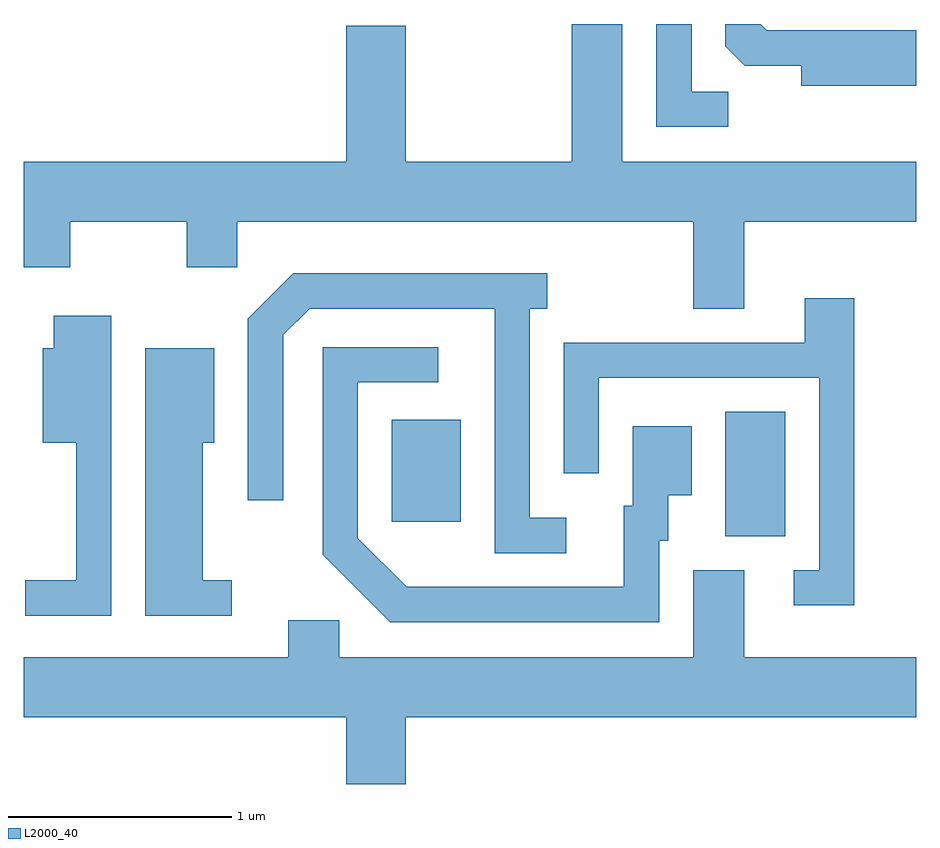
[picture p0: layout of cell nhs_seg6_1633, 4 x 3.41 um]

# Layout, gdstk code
import gdstk
lib = gdstk.Library(unit=1e-6, precision=1e-09)
def R(c, l, rs):  # rectangles x0, y0, x1, y1
    for r in rs: c.add(gdstk.rectangle(r[:2], r[2:], *l))
def P(c, l, *ps):  # polygons
    for p in ps: c.add(gdstk.Polygon(p, *l))
L2000_40 = (2000, 40)

nhs_seg6_1633 = lib.new_cell('nhs_seg6_1633')
R(nhs_seg6_1633, L2000_40, [(236.756,1641.866,237.024,1642.424), (235.261,1641.931,235.569,1642.389)])
P(nhs_seg6_1633, L2000_40, [(236.768,1643.859),(236.604,1643.859),(236.604,1644.162),(236.446,1644.162),(236.446,1643.701),(236.768,1643.701)],
  [(237.611,1644.134),(236.942,1644.134),(236.914,1644.162),(236.756,1644.162),(236.756,1644.062),(236.842,1643.976),(237.096,1643.976),(237.096,1643.886),(237.611,1643.886)],
  [(236.839,1643.276),(237.611,1643.276),(237.611,1643.544),(236.294,1643.544),(236.294,1644.162),(236.066,1644.162),(236.066,1643.544),(235.324,1643.544),(235.324,1644.154),(235.056,1644.154),(235.056,1643.544),(233.611,1643.544),(233.611,1643.071),(233.819,1643.071),(233.819,1643.276),(234.341,1643.276),(234.341,1643.071),(234.569,1643.071),(234.569,1643.276),(236.611,1643.276),(236.611,1642.886),(236.839,1642.886)],
  [(236.043,1641.949),(235.879,1641.949),(235.879,1642.886),(235.958,1642.886),(235.958,1643.044),(234.819,1643.044),(234.616,1642.842),(234.616,1642.028),(234.774,1642.028),(234.774,1642.769),(234.892,1642.886),(235.721,1642.886),(235.721,1641.791),(236.043,1641.791)],
  [(237.334,1642.934),(237.111,1642.934),(237.111,1642.734),(236.031,1642.734),(236.031,1642.148),(236.189,1642.148),(236.189,1642.576),(237.176,1642.576),(237.176,1641.714),(237.063,1641.714),(237.063,1641.556),(237.334,1641.556)],
  [(234.004,1642.854),(233.746,1642.854),(233.746,1642.709),(233.696,1642.709),(233.696,1642.286),(233.846,1642.286),(233.846,1641.669),(233.618,1641.669),(233.618,1641.511),(234.004,1641.511)],
  [(236.459,1641.846),(236.499,1641.846),(236.499,1642.051),(236.604,1642.051),(236.604,1642.359),(236.341,1642.359),(236.341,1642.004),(236.301,1642.004),(236.301,1641.639),(235.327,1641.639),(235.109,1641.857),(235.109,1642.556),(235.468,1642.556),(235.468,1642.714),(234.951,1642.714),(234.951,1641.784),(235.254,1641.481),(236.459,1641.481)],
  [(234.543,1641.669),(234.414,1641.669),(234.414,1642.286),(234.464,1642.286),(234.464,1642.709),(234.156,1642.709),(234.156,1641.511),(234.543,1641.511)],
  [(237.611,1641.324),(236.839,1641.324),(236.839,1641.714),(236.611,1641.714),(236.611,1641.324),(235.024,1641.324),(235.024,1641.489),(234.796,1641.489),(234.796,1641.324),(233.611,1641.324),(233.611,1641.056),(235.056,1641.056),(235.056,1640.756),(235.324,1640.756),(235.324,1641.056),(237.611,1641.056)])

lib.write_gds('nhs_seg6_1633.gds')
